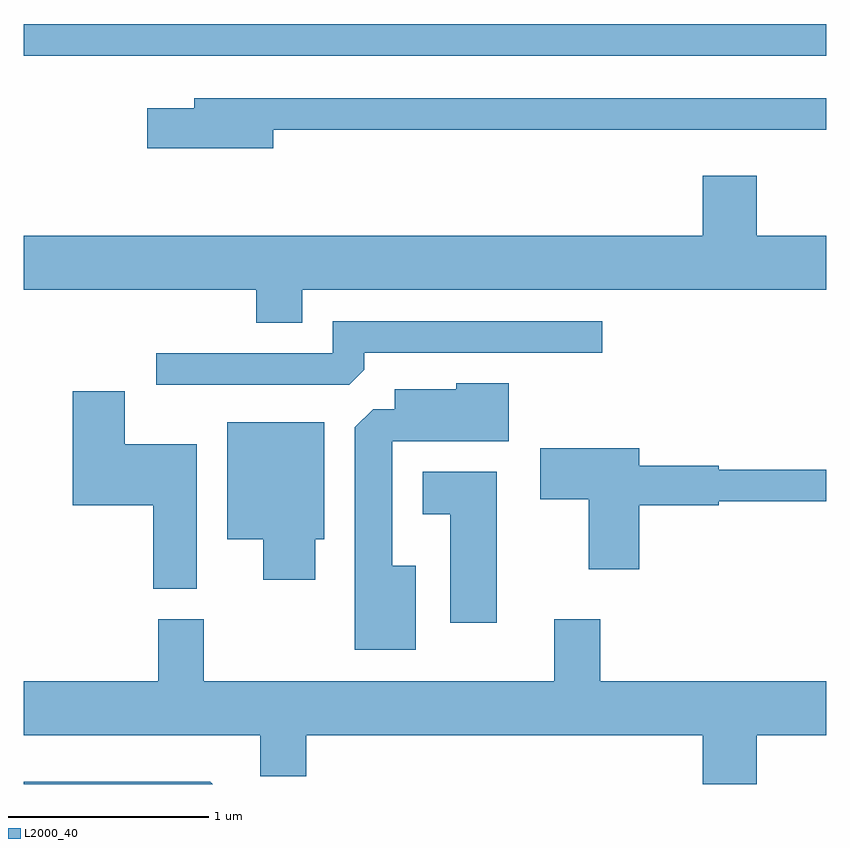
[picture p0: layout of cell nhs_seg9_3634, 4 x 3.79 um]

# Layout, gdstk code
import gdstk
lib = gdstk.Library(unit=1e-6, precision=1e-09)
def R(c, l, rs):  # rectangles x0, y0, x1, y1
    for r in rs: c.add(gdstk.rectangle(r[:2], r[2:], *l))
def P(c, l, *ps):  # polygons
    for p in ps: c.add(gdstk.Polygon(p, *l))
L2000_40 = (2000, 40)

nhs_seg9_3634 = lib.new_cell('nhs_seg9_3634')
R(nhs_seg9_3634, L2000_40, [(291.611,2024.061,295.611,2024.219)])
P(nhs_seg9_3634, L2000_40, [(292.854,2023.691),(295.611,2023.691),(295.611,2023.849),(292.461,2023.849),(292.461,2023.799),(292.226,2023.799),(292.226,2023.601),(292.854,2023.601)],
  [(292.999,2022.896),(295.611,2022.896),(295.611,2023.164),(295.264,2023.164),(295.264,2023.464),(294.996,2023.464),(294.996,2023.164),(291.611,2023.164),(291.611,2022.896),(292.771,2022.896),(292.771,2022.731),(292.999,2022.731)],
  [(293.309,2022.497),(293.309,2022.581),(294.493,2022.581),(294.493,2022.739),(293.151,2022.739),(293.151,2022.579),(292.273,2022.579),(292.273,2022.421),(293.234,2022.421)],
  [(293.564,2021.519),(293.449,2021.519),(293.449,2022.141),(294.029,2022.141),(294.029,2022.429),(293.766,2022.429),(293.766,2022.399),(293.461,2022.399),(293.461,2022.299),(293.352,2022.299),(293.261,2022.209),(293.261,2021.101),(293.564,2021.101)],
  [(292.474,2022.124),(292.114,2022.124),(292.114,2022.389),(291.856,2022.389),(291.856,2021.821),(292.256,2021.821),(292.256,2021.406),(292.474,2021.406)],
  [(293.064,2021.651),(293.109,2021.651),(293.109,2022.234),(292.626,2022.234),(292.626,2021.651),(292.806,2021.651),(292.806,2021.451),(293.064,2021.451)],
  [(294.679,2021.821),(295.074,2021.821),(295.074,2021.841),(295.611,2021.841),(295.611,2021.999),(295.074,2021.999),(295.074,2022.019),(294.679,2022.019),(294.679,2022.104),(294.186,2022.104),(294.186,2021.851),(294.426,2021.851),(294.426,2021.501),(294.679,2021.501)],
  [(293.969,2021.989),(293.601,2021.989),(293.601,2021.776),(293.736,2021.776),(293.736,2021.236),(293.969,2021.236)],
  [(294.996,2020.432),(295.264,2020.432),(295.264,2020.676),(295.611,2020.676),(295.611,2020.944),(294.484,2020.944),(294.484,2021.254),(294.256,2021.254),(294.256,2020.944),(292.509,2020.944),(292.509,2021.254),(292.281,2021.254),(292.281,2020.944),(291.611,2020.944),(291.611,2020.676),(292.791,2020.676),(292.791,2020.471),(293.019,2020.471),(293.019,2020.676),(294.996,2020.676)],
  [(292.542,2020.444),(291.611,2020.444),(291.611,2020.432),(292.554,2020.432)])

lib.write_gds('nhs_seg9_3634.gds')
